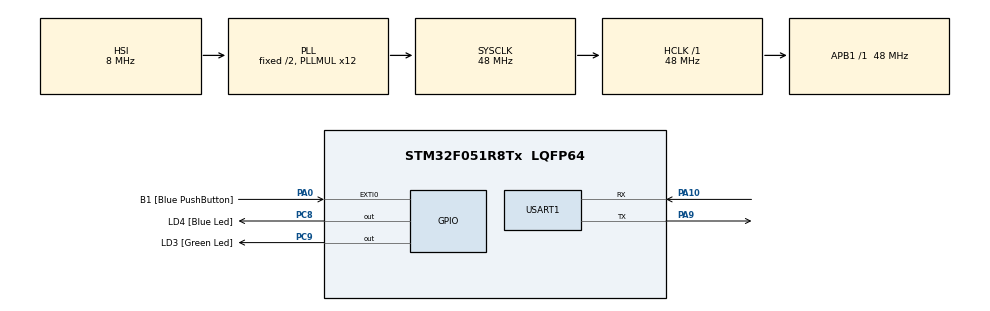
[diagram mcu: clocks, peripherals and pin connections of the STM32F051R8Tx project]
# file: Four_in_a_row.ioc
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Mcu.Family=STM32F0
Mcu.Name=STM32F051R8Tx
Mcu.Package=LQFP64
NVIC.USART1_IRQn=true\:0\:0\:false\:false\:true\:true\:true\:true
PA0.GPIO_Label=B1 [Blue PushButton]
PA0.GPIO_ModeDefaultEXTI=GPIO_MODE_EVT_RISING
PA0.Signal=GPXTI0
PA10.Mode=Asynchronous
PA10.Signal=USART1_RX
PA13.GPIO_Label=SWDIO
PA13.Mode=Serial_Wire
PA13.Signal=SYS_SWDIO
PA14.GPIO_Label=SWCLK
PA14.Mode=Serial_Wire
PA14.Signal=SYS_SWCLK
PA9.Mode=Asynchronous
PA9.Signal=USART1_TX
PC8.GPIO_Label=LD4 [Blue Led]
PC8.Signal=GPIO_Output
PC9.GPIO_Label=LD3 [Green Led]
PC9.Signal=GPIO_Output
ProjectManager.HeapSize=0x200
ProjectManager.StackSize=0x400
ProjectManager.TargetToolchain=STM32CubeIDE
RCC.AHBFreq_Value=48000000
RCC.APB1Freq_Value=48000000
RCC.APB1TimFreq_Value=48000000
RCC.HCLKFreq_Value=48000000
RCC.PLLMUL=RCC_PLL_MUL12
RCC.SYSCLKFreq_VALUE=48000000
RCC.SYSCLKSource=RCC_SYSCLKSOURCE_PLLCLK
USART1.VirtualMode-Asynchronous=VM_ASYNC
board=STM32F0DISCOVERY

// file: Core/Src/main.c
/* USER CODE BEGIN Header */
/**
  ******************************************************************************
  * @file           : main.c
  * @brief          : Main program body
  ******************************************************************************
  */
/* USER CODE END Header */
#include "main.h"
#include "usart.h"
#include "gpio.h"

/* USER CODE BEGIN Includes */
#include <string.h> // Для роботи з пам'яттю
/* USER CODE END Includes */

/* USER CODE BEGIN PTD */
// Структура пакету (6 байт) для зручності доступу
typedef struct {
    uint8_t cmd;
    uint8_t addr_h;
    uint8_t addr_l;
    uint8_t data_h;
    uint8_t data_l;
    uint8_t crc;
} Packet_t;
/* USER CODE END PTD */

/* USER CODE BEGIN PD */
#define PACKET_SIZE 6
#define TIMEOUT_MS  10  // Жорсткий таймаут між байтами
/* USER CODE END PD */

/* USER CODE BEGIN PV */
/* --- ЗМІННІ ДЛЯ ПРОТОКОЛУ --- */
uint8_t rx_byte;                // Тимчасовий байт (приймач)
uint8_t rx_buffer[PACKET_SIZE]; // Буфер для збору пакету
uint8_t rx_idx = 0;             // Поточний індекс

volatile uint8_t packet_received_flag = 0; // Прапор: 1 = є повний пакет
uint32_t last_byte_tick = 0;    // Час отримання останнього байта

Packet_t current_packet;        // Структура для розбору даних
/* USER CODE END PV */

void SystemClock_Config(void);

int main(void)
{

  /* MCU Configuration--------------------------------------------------------*/

  /* Reset of all peripherals, Initializes the Flash interface and the Systick. */
  HAL_Init();

  /* Configure the system clock */
  SystemClock_Config();

  /* Initialize all configured peripherals */
  MX_GPIO_Init();
  MX_USART1_UART_Init();
  /* USER CODE BEGIN 2 */

  /* --- СТАРТ --- */
  // Очищаємо сміття в регістрі
  __HAL_UART_FLUSH_DRREGISTER(&huart1);

  // Запускаємо прийом першого байта
  HAL_UART_Receive_IT(&huart1, &rx_byte, 1);

  /* USER CODE END 2 */

  /* Infinite loop */
  /* USER CODE BEGIN WHILE */
  while (1)
  {
    /* --- 1. ПЕРЕВІРКА: ЧИ ПРИЙШОВ ПОВНИЙ ПАКЕТ? --- */
    if (packet_received_flag == 1)
    {
        // Копіюємо дані в структуру для зручності
        // (Можна працювати і напряму з rx_buffer)
        current_packet.cmd    = rx_buffer[0];
        current_packet.addr_h = rx_buffer[1];
        current_packet.addr_l = rx_buffer[2];
        current_packet.data_h = rx_buffer[3];
        current_packet.data_l = rx_buffer[4];
        current_packet.crc    = rx_buffer[5];

        /* --- 2. РАХУЄМО CRC --- */
        // Сума перших 5 байт
        uint16_t sum = current_packet.cmd +
                       current_packet.addr_h + current_packet.addr_l +
                       current_packet.data_h + current_packet.data_l;

        uint8_t calc_crc = sum & 0xFF; // Беремо молодший байт (Modulo 256)

        /* --- 3. ВАЛІДАЦІЯ --- */
        if (calc_crc == current_packet.crc)
        {
            // === ПАКЕТ ВАЛІДНИЙ ===

            // Тут твоя логіка гри.
            // Для прикладу: Просто підтверджуємо отримання (ACK)

            // Змінюємо дані для відповіді (наприклад, Status = 0xFF OK)
            rx_buffer[3] = 0x00;
            rx_buffer[4] = 0xFF;

            // ПЕРЕРАХОВУЄМО CRC для відповіді!
            uint16_t resp_sum = rx_buffer[0] + rx_buffer[1] + rx_buffer[2] +
                                rx_buffer[3] + rx_buffer[4];
            rx_buffer[5] = resp_sum & 0xFF;

            // Відправляємо відповідь (ACK)
            HAL_UART_Transmit(&huart1, rx_buffer, PACKET_SIZE, 100);
        }
        else
        {
            // === ПОМИЛКА CRC ===
            // Відправляємо пакет помилки (0xEE)
            uint8_t err_packet[PACKET_SIZE] = {0xEE, 0xEE, 0xEE, 0xEE, 0xEE, 0xEE};
            HAL_UART_Transmit(&huart1, err_packet, PACKET_SIZE, 100);
        }

        /* --- 4. ЗАВЕРШЕННЯ ОБРОБКИ --- */
        // Скидаємо прапор, дозволяємо приймати нові пакети в ISR
        packet_received_flag = 0;
    }

    /* USER CODE END WHILE */

  }
}

void SystemClock_Config(void)
{
  RCC_OscInitTypeDef RCC_OscInitStruct = {0};
  RCC_ClkInitTypeDef RCC_ClkInitStruct = {0};
  RCC_PeriphCLKInitTypeDef PeriphClkInit = {0};

  /** Initializes the RCC Oscillators according to the specified parameters
  * in the RCC_OscInitTypeDef structure.
  */
  RCC_OscInitStruct.OscillatorType = RCC_OSCILLATORTYPE_HSI;
  RCC_OscInitStruct.HSIState = RCC_HSI_ON;
  RCC_OscInitStruct.HSICalibrationValue = RCC_HSICALIBRATION_DEFAULT;
  RCC_OscInitStruct.PLL.PLLState = RCC_PLL_ON;
  RCC_OscInitStruct.PLL.PLLSource = RCC_PLLSOURCE_HSI;
  RCC_OscInitStruct.PLL.PLLMUL = RCC_PLL_MUL12;
  RCC_OscInitStruct.PLL.PREDIV = RCC_PREDIV_DIV1;
  if (HAL_RCC_OscConfig(&RCC_OscInitStruct) != HAL_OK)
  {
    Error_Handler();
  }

  /** Initializes the CPU, AHB and APB buses clocks
  */
  RCC_ClkInitStruct.ClockType = RCC_CLOCKTYPE_HCLK|RCC_CLOCKTYPE_SYSCLK
                              |RCC_CLOCKTYPE_PCLK1;
  RCC_ClkInitStruct.SYSCLKSource = RCC_SYSCLKSOURCE_PLLCLK;
  RCC_ClkInitStruct.AHBCLKDivider = RCC_SYSCLK_DIV1;
  RCC_ClkInitStruct.APB1CLKDivider = RCC_HCLK_DIV1;

  if (HAL_RCC_ClockConfig(&RCC_ClkInitStruct, FLASH_LATENCY_1) != HAL_OK)
  {
    Error_Handler();
  }
  PeriphClkInit.PeriphClockSelection = RCC_PERIPHCLK_USART1;
  PeriphClkInit.Usart1ClockSelection = RCC_USART1CLKSOURCE_PCLK1;
  if (HAL_RCCEx_PeriphCLKConfig(&PeriphClkInit) != HAL_OK)
  {
    Error_Handler();
  }
}

/* USER CODE BEGIN 4 */
/* --- ОБРОБНИКИ ПЕРЕРИВАНЬ UART --- */

void HAL_UART_RxCpltCallback(UART_HandleTypeDef *huart)
{
  if (huart->Instance == USART1)
  {
    uint32_t current_tick = HAL_GetTick();

    /* А. ПЕРЕВІРКА ТАЙМАУТУ (10 мс) */
    // Якщо прийом йде (індекс > 0), але пауза затягнулася (> 10мс)
    if (rx_idx > 0 && (current_tick - last_byte_tick > TIMEOUT_MS))
    {
        rx_idx = 0; // Скидаємо "протухлий" пакет
    }

    // Оновлюємо час останнього байта
    last_byte_tick = current_tick;

    /* Б. БУФЕРИЗАЦІЯ */
    // Пишемо в буфер ТІЛЬКИ якщо Main Loop вже обробив попередній пакет (flag == 0)
    if (packet_received_flag == 0)
    {
        rx_buffer[rx_idx++] = rx_byte; // Записуємо байт

        // Якщо зібрали 6 байт
        if (rx_idx >= PACKET_SIZE)
        {
            packet_received_flag = 1; // Сигнал для Main Loop: "Є дані!"
            rx_idx = 0;               // Скидаємо індекс для наступного разу
        }
    }
    else
    {
        // Якщо flag == 1, значить Main ще думає.
        // Ми ігноруємо вхідні байти (або можна повертати помилку),
        // щоб не зіпсувати буфер, який зараз читає Main.
    }

    /* В. Слухаємо далі */
    HAL_UART_Receive_IT(&huart1, &rx_byte, 1);
  }
}

void HAL_UART_ErrorCallback(UART_HandleTypeDef *huart)
{
  if (huart->Instance == USART1)
  {
    // Скидання при апаратних помилках
    __HAL_UART_CLEAR_OREFLAG(huart);
    rx_idx = 0;
    packet_received_flag = 0; // Примусове розблокування
    HAL_UART_Receive_IT(&huart1, &rx_byte, 1);
  }
}
/* USER CODE END 4 */

void Error_Handler(void)
{
  __disable_irq();
  while (1)
  {
  }
}
